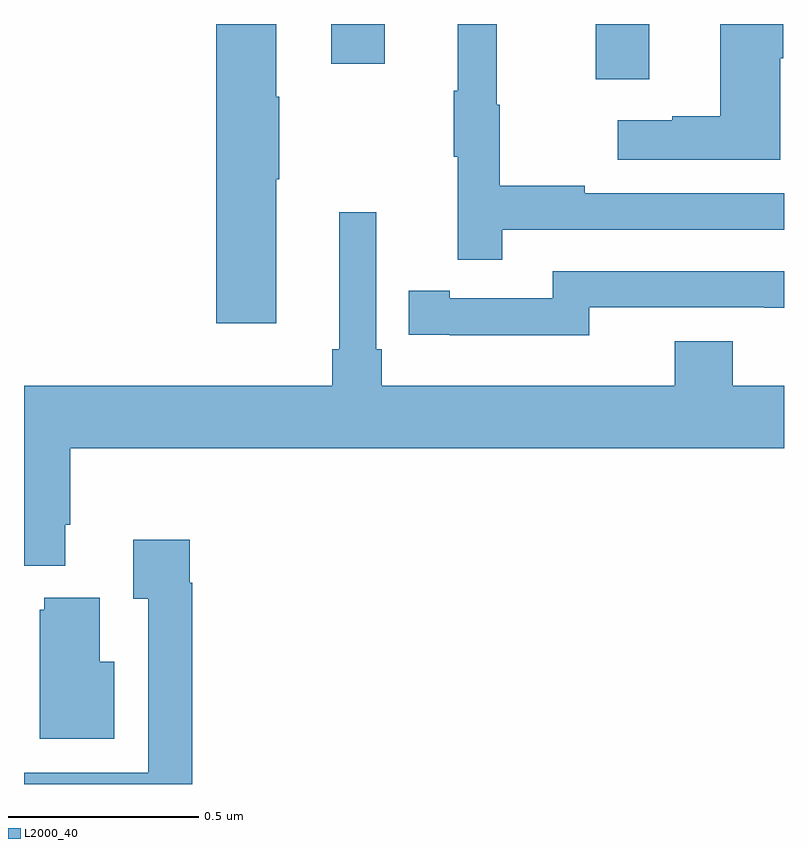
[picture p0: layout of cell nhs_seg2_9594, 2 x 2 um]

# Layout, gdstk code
import gdstk
lib = gdstk.Library(unit=1e-6, precision=1e-09)
def R(c, l, rs):  # rectangles x0, y0, x1, y1
    for r in rs: c.add(gdstk.rectangle(r[:2], r[2:], *l))
def P(c, l, *ps):  # polygons
    for p in ps: c.add(gdstk.Polygon(p, *l))
L2000_40 = (2000, 40)

nhs_seg2_9594 = lib.new_cell('nhs_seg2_9594')
R(nhs_seg2_9594, L2000_40, [(232.505,600.654,232.645,600.8), (231.809,600.696,231.949,600.8)])
P(nhs_seg2_9594, L2000_40, [(231.664,600.391),(231.672,600.391),(231.672,600.608),(231.664,600.608),(231.664,600.8),(231.506,600.8),(231.506,600.012),(231.664,600.012)],
  [(232.259,600.258),(233,600.258),(233,600.354),(232.475,600.354),(232.475,600.374),(232.252,600.374),(232.252,600.588),(232.244,600.588),(232.244,600.8),(232.142,600.8),(232.142,600.625),(232.131,600.625),(232.131,600.451),(232.142,600.451),(232.142,600.18),(232.259,600.18)],
  [(232.99,600.71),(232.998,600.71),(232.998,600.8),(232.832,600.8),(232.832,600.557),(232.706,600.557),(232.706,600.547),(232.563,600.547),(232.563,600.443),(232.99,600.443)],
  [(231.109,599.482),(231.122,599.482),(231.122,599.684),(233,599.684),(233,599.848),(232.865,599.848),(232.865,599.965),(232.712,599.965),(232.712,599.848),(231.941,599.848),(231.941,599.944),(231.927,599.944),(231.927,600.304),(231.83,600.304),(231.83,599.944),(231.811,599.944),(231.811,599.848),(231,599.848),(231,599.375),(231.109,599.375)],
  [(232.488,600.054),(232.948,600.054),(232.948,600.053),(233,600.053),(233,600.15),(232.392,600.15),(232.392,600.078),(232.12,600.078),(232.12,600.098),(232.012,600.098),(232.012,599.982),(232.12,599.982),(232.12,599.981),(232.488,599.981)],
  [(231.443,599.33),(231.436,599.33),(231.436,599.443),(231.287,599.443),(231.287,599.287),(231.327,599.287),(231.327,598.83),(231,598.83),(231,598.8),(231.443,598.8)],
  [(231.238,599.122),(231.199,599.122),(231.199,599.29),(231.053,599.29),(231.053,599.259),(231.041,599.259),(231.041,598.919),(231.238,598.919)])

lib.write_gds('nhs_seg2_9594.gds')
